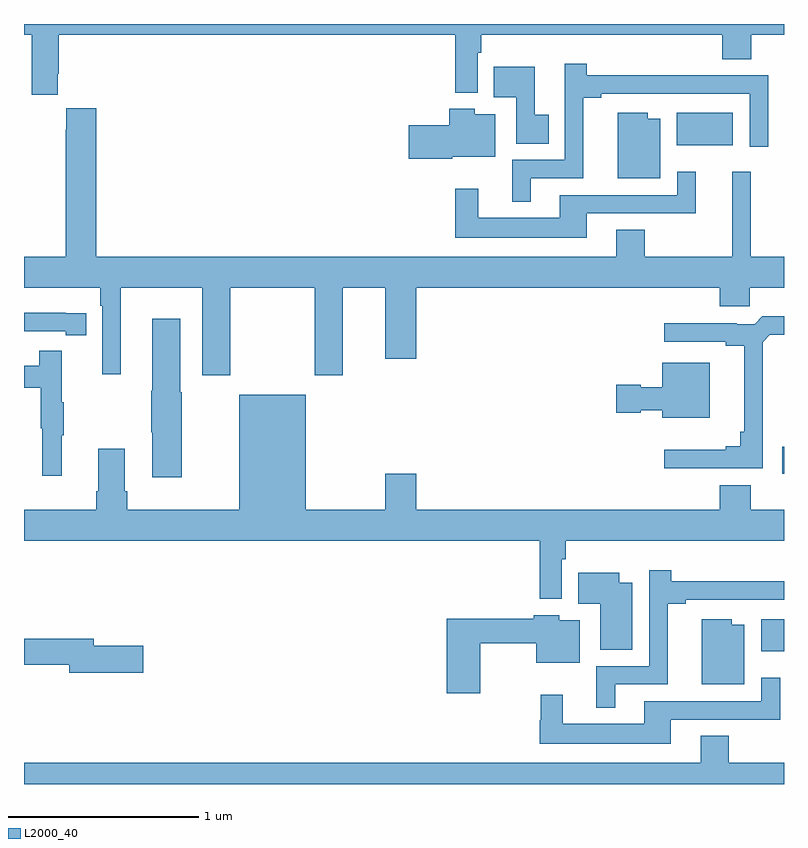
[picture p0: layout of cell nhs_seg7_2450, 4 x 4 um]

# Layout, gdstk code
import gdstk
lib = gdstk.Library(unit=1e-6, precision=1e-09)
def R(c, l, rs):  # rectangles x0, y0, x1, y1
    for r in rs: c.add(gdstk.rectangle(r[:2], r[2:], *l))
def P(c, l, *ps):  # polygons
    for p in ps: c.add(gdstk.Polygon(p, *l))
L2000_40 = (2000, 40)

nhs_seg7_2450 = lib.new_cell('nhs_seg7_2450')
R(nhs_seg7_2450, L2000_40, [(274.88,1002.698,275,1002.868), (274.991,1003.632,275,1003.776), (274.436,1005.362,274.729,1005.532)])
P(nhs_seg7_2450, L2000_40, [(271,1005.944),(271.04,1005.944),(271.04,1005.627),(271.177,1005.627),(271.177,1005.739),(271.184,1005.739),(271.184,1005.944),(273.271,1005.944),(273.271,1005.638),(273.387,1005.638),(273.387,1005.848),(273.407,1005.848),(273.407,1005.944),(274.676,1005.944),(274.676,1005.814),(274.828,1005.814),(274.828,1005.944),(275,1005.944),(275,1006),(271,1006)],
  [(273.667,1005.189),(273.944,1005.189),(273.944,1005.613),(274.039,1005.613),(274.039,1005.633),(274.821,1005.633),(274.821,1005.354),(274.917,1005.354),(274.917,1005.729),(274.592,1005.729),(274.592,1005.731),(273.962,1005.731),(273.962,1005.79),(273.846,1005.79),(273.846,1005.285),(273.569,1005.285),(273.569,1005.065),(273.667,1005.065)],
  [(273.761,1005.522),(273.688,1005.522),(273.688,1005.775),(273.472,1005.775),(273.472,1005.614),(273.591,1005.614),(273.591,1005.37),(273.761,1005.37)],
  [(272.085,1004.612),(272.53,1004.612),(272.53,1004.151),(272.677,1004.151),(272.677,1004.612),(272.9,1004.612),(272.9,1004.238),(273.064,1004.238),(273.064,1004.612),(274.661,1004.612),(274.661,1004.514),(274.821,1004.514),(274.821,1004.612),(275,1004.612),(275,1004.776),(274.826,1004.776),(274.826,1005.223),(274.727,1005.223),(274.727,1004.776),(274.266,1004.776),(274.266,1004.918),(274.118,1004.918),(274.118,1004.776),(271.379,1004.776),(271.379,1005.556),(271.223,1005.556),(271.223,1005.443),(271.219,1005.443),(271.219,1004.776),(271,1004.776),(271,1004.612),(271.4,1004.612),(271.4,1004.516),(271.413,1004.516),(271.413,1004.157),(271.51,1004.157),(271.51,1004.612),(271.937,1004.612),(271.937,1004.151),(272.085,1004.151)],
  [(273.255,1005.302),(273.481,1005.302),(273.481,1005.526),(273.372,1005.526),(273.372,1005.553),(273.239,1005.553),(273.239,1005.468),(273.024,1005.468),(273.024,1005.29),(273.255,1005.29)],
  [(274.348,1005.502),(274.282,1005.502),(274.282,1005.532),(274.124,1005.532),(274.124,1005.188),(274.348,1005.188)],
  [(273.961,1005.003),(274.535,1005.003),(274.535,1005.223),(274.437,1005.223),(274.437,1005.099),(273.821,1005.099),(273.821,1004.98),(273.391,1004.98),(273.391,1005.133),(273.27,1005.133),(273.27,1004.876),(273.961,1004.876)],
  [(271.328,1004.478),(271.22,1004.478),(271.22,1004.479),(271,1004.479),(271,1004.382),(271.22,1004.382),(271.22,1004.362),(271.328,1004.362)],
  [(274.887,1004.325),(274.926,1004.364),(275,1004.364),(275,1004.461),(274.885,1004.461),(274.845,1004.421),(274.751,1004.421),(274.751,1004.426),(274.371,1004.426),(274.371,1004.328),(274.694,1004.328),(274.694,1004.306),(274.79,1004.306),(274.79,1003.855),(274.771,1003.855),(274.771,1003.778),(274.694,1003.778),(274.694,1003.759),(274.371,1003.759),(274.371,1003.662),(274.887,1003.662)],
  [(271.83,1004.063),(271.822,1004.063),(271.822,1004.449),(271.676,1004.449),(271.676,1004.069),(271.669,1004.069),(271.669,1003.852),(271.676,1003.852),(271.676,1003.614),(271.83,1003.614)],
  [(271.199,1003.835),(271.21,1003.835),(271.21,1004.009),(271.199,1004.009),(271.199,1004.281),(271.081,1004.281),(271.081,1004.202),(271,1004.202),(271,1004.086),(271.089,1004.086),(271.089,1003.872),(271.096,1003.872),(271.096,1003.623),(271.199,1003.623)],
  [(274.609,1004.218),(274.358,1004.218),(274.358,1004.089),(274.245,1004.089),(274.245,1004.102),(274.116,1004.102),(274.116,1003.955),(274.245,1003.955),(274.245,1003.967),(274.358,1003.967),(274.358,1003.928),(274.609,1003.928)],
  [(273.831,1003.184),(273.851,1003.184),(273.851,1003.28),(275,1003.28),(275,1003.444),(274.825,1003.444),(274.825,1003.573),(274.661,1003.573),(274.661,1003.444),(273.064,1003.444),(273.064,1003.633),(272.9,1003.633),(272.9,1003.444),(272.482,1003.444),(272.482,1004.05),(272.132,1004.05),(272.132,1003.444),(271.544,1003.444),(271.544,1003.54),(271.531,1003.54),(271.531,1003.765),(271.391,1003.765),(271.391,1003.54),(271.379,1003.54),(271.379,1003.444),(271,1003.444),(271,1003.28),(273.715,1003.28),(273.715,1002.974),(273.831,1002.974)],
  [(274.111,1002.525),(274.388,1002.525),(274.388,1002.949),(274.483,1002.949),(274.483,1002.969),(275,1002.969),(275,1003.067),(274.406,1003.067),(274.406,1003.126),(274.29,1003.126),(274.29,1002.621),(274.013,1002.621),(274.013,1002.401),(274.111,1002.401)],
  [(274.201,1003.06),(274.132,1003.06),(274.132,1003.111),(273.916,1003.111),(273.916,1002.95),(274.034,1002.95),(274.034,1002.706),(274.201,1002.706)],
  [(273.402,1002.742),(273.695,1002.742),(273.695,1002.638),(273.925,1002.638),(273.925,1002.862),(273.816,1002.862),(273.816,1002.889),(273.683,1002.889),(273.683,1002.871),(273.224,1002.871),(273.224,1002.477),(273.402,1002.477)],
  [(274.792,1002.838),(274.726,1002.838),(274.726,1002.868),(274.568,1002.868),(274.568,1002.524),(274.792,1002.524)],
  [(271.627,1002.728),(271.366,1002.728),(271.366,1002.764),(271,1002.764),(271,1002.628),(271.238,1002.628),(271.238,1002.586),(271.627,1002.586)],
  [(274.405,1002.339),(274.979,1002.339),(274.979,1002.559),(274.881,1002.559),(274.881,1002.435),(274.265,1002.435),(274.265,1002.316),(273.835,1002.316),(273.835,1002.469),(273.721,1002.469),(273.721,1002.336),(273.714,1002.336),(273.714,1002.212),(274.405,1002.212)],
  [(275,1002.112),(274.71,1002.112),(274.71,1002.254),(274.562,1002.254),(274.562,1002.112),(271,1002.112),(271,1002),(275,1002)])

lib.write_gds('nhs_seg7_2450.gds')
